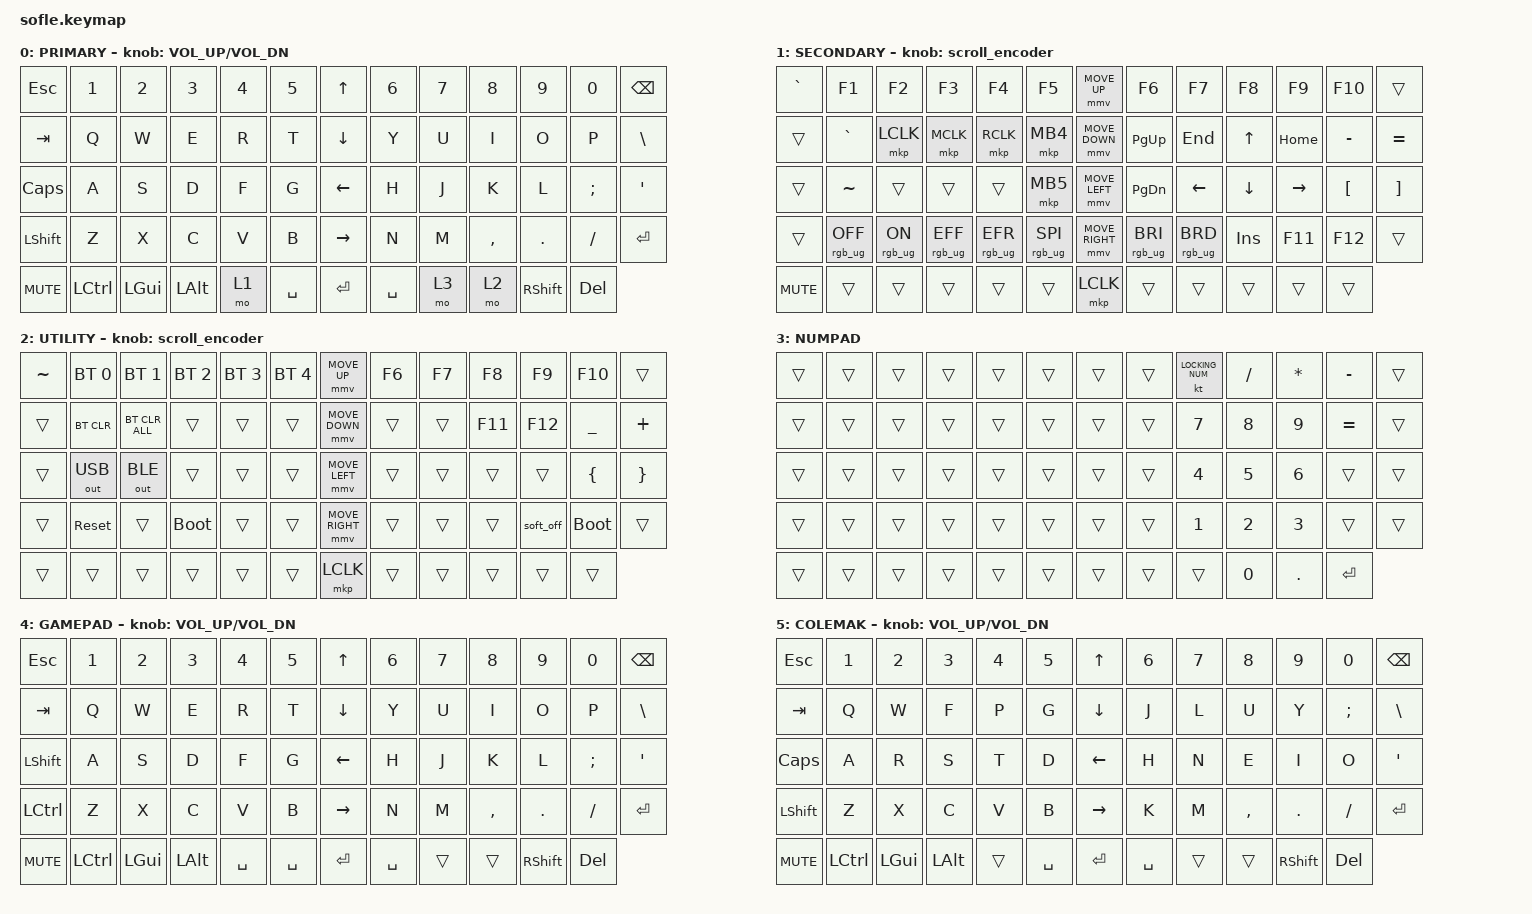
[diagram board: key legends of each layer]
#include <behaviors/mouse_keys.dtsi>
#include <dt-bindings/zmk/mouse.h>
#include <behaviors.dtsi>
#include <dt-bindings/zmk/bt.h>
#include <dt-bindings/zmk/keys.h>
#include <dt-bindings/zmk/outputs.h>
#include <dt-bindings/zmk/rgb.h>

#define ZMK_MOUSE_DEFAULT_MOVE_VAL 1200  // 600
#define ZMK_MOUSE_DEFAULT_SCRL_VAL 20    // 10
#define U_MS_U &mmv MOVE_UP
#define U_MS_D &mmv MOVE_DOWN
#define U_MS_L &mmv MOVE_LEFT
#define U_MS_R &mmv MOVE_RIGHT
#define ZMK_MOUSE_DEFAULT_MOVE_VAL 1200  //  600
#define ZMK_MOUSE_DEFAULT_SCRL_VAL 20    // 10

/ {
    behaviors {
        mmv {
            acceleration-exponent = <1>;      // 1
            time-to-max-speed-ms = <900>;    // 40
            delay-ms = <0>;                   // 0
        };

        msc {
            acceleration-exponent = <1>;      // 0
            time-to-max-speed-ms = <400>;      // 500
            delay-ms = <0>;                   //   10
        };
    };

    scroll_encoder: scroll_encoder {
        compatible = "zmk,behavior-sensor-rotate";
        #sensor-binding-cells = <0>;
        bindings = <&msc SCRL_DOWN>, <&msc SCRL_UP>;

        tap-ms = <30>;
    };

    combos {
        compatible = "zmk,combos";

        colemaktoggle {
            bindings = <&tog 5>;
            key-positions = <60 61 62>;
        };

        gamepadtoggle {
            bindings = <&tog 4>;
            key-positions = <60 61>;
        };

        leftComboBackspace {
            bindings = <&kp BACKSPACE>;
            key-positions = <28 29 30>;
        };
    };

    keymap {
        compatible = "zmk,keymap";

        Primary {
            bindings = <
&kp ESC     &kp N1     &kp N2        &kp N3        &kp N4  &kp N5       &kp UP_ARROW     &kp N6     &kp N7  &kp N8     &kp N9           &kp N0      &kp BACKSPACE
&kp TAB     &kp Q      &kp W         &kp E         &kp R   &kp T        &kp DOWN_ARROW   &kp Y      &kp U   &kp I      &kp O            &kp P       &kp BSLH
&kp CAPS    &kp A      &kp S         &kp D         &kp F   &kp G        &kp LEFT_ARROW   &kp H      &kp J   &kp K      &kp L            &kp SEMI    &kp APOS
&kp LSHFT   &kp Z      &kp X         &kp C         &kp V   &kp B        &kp RIGHT_ARROW  &kp N      &kp M   &kp COMMA  &kp DOT          &kp FSLH    &kp ENTER
&kp C_MUTE  &kp LCTRL  &kp LEFT_GUI  &kp LEFT_ALT  &mo 1   &kp SPACE    &kp ENTER        &kp SPACE  &mo 3   &mo 2      &kp RIGHT_SHIFT  &kp DELETE
            >;

            sensor-bindings = <&inc_dec_kp C_VOLUME_UP C_VOL_DN>;
            display-name = "PRIMARY";
        };

        Secondary {
            bindings = <
&kp GRAVE   &kp F1           &kp F2          &kp F3           &kp F4           &kp F5             &mmv MOVE_UP     &kp F6           &kp F7           &kp F8      &kp F9     &kp F10           &trans
&trans      &kp GRAVE        &mkp LCLK       &mkp MCLK        &mkp RCLK        &mkp MB4           &mmv MOVE_DOWN   &kp PG_UP        &kp END          &kp UP      &kp HOME   &kp MINUS         &kp EQUAL
&trans      &kp TILDE        &trans          &trans           &trans           &mkp MB5           &mmv MOVE_LEFT   &kp PG_DN        &kp LEFT         &kp DOWN    &kp RIGHT  &kp LEFT_BRACKET  &kp RIGHT_BRACKET
&trans      &rgb_ug RGB_OFF  &rgb_ug RGB_ON  &rgb_ug RGB_EFF  &rgb_ug RGB_EFR  &rgb_ug RGB_SPI    &mmv MOVE_RIGHT  &rgb_ug RGB_BRI  &rgb_ug RGB_BRD  &kp INSERT  &kp F11    &kp F12           &trans
&kp C_MUTE  &trans           &trans          &trans           &trans           &trans             &mkp LCLK        &trans           &trans           &trans      &trans     &trans
            >;

            display-name = "SECONDARY";
            sensor-bindings = <&scroll_encoder>;
        };

        Utility {
            bindings = <
&kp TILDE  &bt BT_SEL 0  &bt BT_SEL 1    &bt BT_SEL 2  &bt BT_SEL 3  &bt BT_SEL 4    &mmv MOVE_UP     &kp F6  &kp F7  &kp F8   &kp F9     &kp F10      &trans
&trans     &bt BT_CLR    &bt BT_CLR_ALL  &trans        &trans        &trans          &mmv MOVE_DOWN   &trans  &trans  &kp F11  &kp F12    &kp UNDER    &kp PLUS
&trans     &out OUT_USB  &out OUT_BLE    &trans        &trans        &trans          &mmv MOVE_LEFT   &trans  &trans  &trans   &trans     &kp LBRC     &kp RBRC
&trans     &sys_reset    &trans          &bootloader   &trans        &trans          &mmv MOVE_RIGHT  &trans  &trans  &trans   &soft_off  &bootloader  &trans
&trans     &trans        &trans          &trans        &trans        &trans          &mkp LCLK        &trans  &trans  &trans   &trans     &trans
            >;

            sensor-bindings = <&scroll_encoder>;
            label = "UTILITY";
        };

        Numpad {
            bindings = <
&trans  &trans  &trans  &trans  &trans  &trans    &trans  &trans  &kt LOCKING_NUM  &kp FSLH  &kp STAR  &kp MINUS  &trans
&trans  &trans  &trans  &trans  &trans  &trans    &trans  &trans  &kp N7           &kp N8    &kp N9    &kp EQUAL  &trans
&trans  &trans  &trans  &trans  &trans  &trans    &trans  &trans  &kp N4           &kp N5    &kp N6    &trans     &trans
&trans  &trans  &trans  &trans  &trans  &trans    &trans  &trans  &kp N1           &kp N2    &kp N3    &trans     &trans
&trans  &trans  &trans  &trans  &trans  &trans    &trans  &trans  &trans           &kp N0    &kp DOT   &kp RET
            >;

            label = "NUMPAD";
        };

        Gamepad {
            display-name = "GAMEPAD";
            bindings = <
&kp ESC     &kp N1     &kp N2        &kp N3        &kp N4     &kp N5       &kp UP_ARROW     &kp N6     &kp N7  &kp N8     &kp N9           &kp N0      &kp BACKSPACE
&kp TAB     &kp Q      &kp W         &kp E         &kp R      &kp T        &kp DOWN_ARROW   &kp Y      &kp U   &kp I      &kp O            &kp P       &kp BSLH
&kp LSHFT   &kp A      &kp S         &kp D         &kp F      &kp G        &kp LEFT_ARROW   &kp H      &kp J   &kp K      &kp L            &kp SEMI    &kp APOS
&kp LCTRL   &kp Z      &kp X         &kp C         &kp V      &kp B        &kp RIGHT_ARROW  &kp N      &kp M   &kp COMMA  &kp DOT          &kp FSLH    &kp ENTER
&kp C_MUTE  &kp LCTRL  &kp LEFT_GUI  &kp LEFT_ALT  &kp SPACE  &kp SPACE    &kp ENTER        &kp SPACE  &trans  &trans     &kp RIGHT_SHIFT  &kp DELETE
            >;

            sensor-bindings = <&inc_dec_kp C_VOLUME_UP C_VOL_DN>;
        };

        Colemak {
            bindings = <
&kp ESC     &kp N1     &kp N2    &kp N3    &kp N4  &kp N5       &kp UP     &kp N6     &kp N7  &kp N8     &kp N9           &kp N0      &kp BSPC
&kp TAB     &kp Q      &kp W     &kp F     &kp P   &kp G        &kp DOWN   &kp J      &kp L   &kp U      &kp Y            &kp SEMI    &kp BSLH
&kp CAPS    &kp A      &kp R     &kp S     &kp T   &kp D        &kp LEFT   &kp H      &kp N   &kp E      &kp I            &kp O       &kp APOS
&kp LSHFT   &kp Z      &kp X     &kp C     &kp V   &kp B        &kp RIGHT  &kp K      &kp M   &kp COMMA  &kp DOT          &kp FSLH    &kp ENTER
&kp C_MUTE  &kp LCTRL  &kp LGUI  &kp LALT  &trans  &kp SPACE    &kp RET    &kp SPACE  &trans  &trans     &kp RIGHT_SHIFT  &kp DELETE
            >;

            label = "COLEMAK";
            sensor-bindings = <&inc_dec_kp C_VOL_UP C_VOL_DN>;
        };
    };
};
